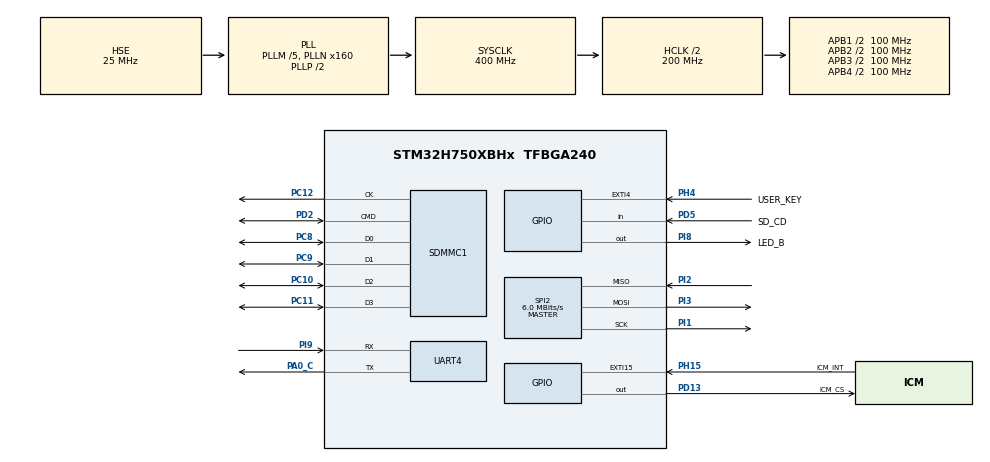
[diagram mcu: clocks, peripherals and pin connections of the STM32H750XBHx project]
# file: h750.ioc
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Dma.Request0=SPI2_RX
Dma.Request1=SPI2_TX
Dma.SPI2_RX.0.Direction=DMA_PERIPH_TO_MEMORY
Dma.SPI2_RX.0.EventEnable=DISABLE
Dma.SPI2_RX.0.FIFOMode=DMA_FIFOMODE_DISABLE
Dma.SPI2_RX.0.Instance=DMA1_Stream0
Dma.SPI2_RX.0.MemDataAlignment=DMA_MDATAALIGN_BYTE
Dma.SPI2_RX.0.MemInc=DMA_MINC_ENABLE
Dma.SPI2_RX.0.Mode=DMA_NORMAL
Dma.SPI2_RX.0.PeriphDataAlignment=DMA_PDATAALIGN_BYTE
Dma.SPI2_RX.0.PeriphInc=DMA_PINC_DISABLE
Dma.SPI2_RX.0.Polarity=HAL_DMAMUX_REQ_GEN_RISING
Dma.SPI2_RX.0.Priority=DMA_PRIORITY_LOW
Dma.SPI2_RX.0.RequestNumber=1
Dma.SPI2_RX.0.SignalID=NONE
Dma.SPI2_RX.0.SyncEnable=DISABLE
Dma.SPI2_RX.0.SyncPolarity=HAL_DMAMUX_SYNC_NO_EVENT
Dma.SPI2_RX.0.SyncRequestNumber=1
Dma.SPI2_RX.0.SyncSignalID=NONE
Dma.SPI2_TX.1.Direction=DMA_MEMORY_TO_PERIPH
Dma.SPI2_TX.1.EventEnable=DISABLE
Dma.SPI2_TX.1.FIFOMode=DMA_FIFOMODE_DISABLE
Dma.SPI2_TX.1.Instance=DMA1_Stream1
Dma.SPI2_TX.1.MemDataAlignment=DMA_MDATAALIGN_BYTE
Dma.SPI2_TX.1.MemInc=DMA_MINC_ENABLE
Dma.SPI2_TX.1.Mode=DMA_NORMAL
Dma.SPI2_TX.1.PeriphDataAlignment=DMA_PDATAALIGN_BYTE
Dma.SPI2_TX.1.PeriphInc=DMA_PINC_DISABLE
Dma.SPI2_TX.1.Polarity=HAL_DMAMUX_REQ_GEN_RISING
Dma.SPI2_TX.1.Priority=DMA_PRIORITY_LOW
Dma.SPI2_TX.1.RequestNumber=1
Dma.SPI2_TX.1.SignalID=NONE
Dma.SPI2_TX.1.SyncEnable=DISABLE
Dma.SPI2_TX.1.SyncPolarity=HAL_DMAMUX_SYNC_NO_EVENT
Dma.SPI2_TX.1.SyncRequestNumber=1
Dma.SPI2_TX.1.SyncSignalID=NONE
FATFS._FS_EXFAT=1
FATFS._FS_TINY=0
FATFS._MAX_SS=4096
FATFS._USE_LFN=1
Mcu.Family=STM32H7
Mcu.Name=STM32H750XBHx
Mcu.Package=TFBGA240
NVIC.DMA1_Stream0_IRQn=true\:0\:0\:false\:false\:true\:false\:true\:true
NVIC.DMA1_Stream1_IRQn=true\:0\:0\:false\:false\:true\:false\:true\:true
NVIC.EXTI4_IRQn=true\:0\:0\:true\:false\:true\:true\:true\:true
NVIC.PriorityGroup=NVIC_PRIORITYGROUP_4
NVIC.SDMMC1_IRQn=true\:0\:0\:false\:false\:true\:true\:true\:true
NVIC.SPI2_IRQn=true\:0\:0\:false\:false\:true\:true\:true\:true
NVIC.TIM7_IRQn=true\:4\:0\:true\:false\:true\:true\:true\:true
NVIC.UART4_IRQn=true\:5\:0\:true\:false\:true\:true\:true\:true
PA0_C.Mode=Asynchronous
PA0_C.Signal=UART4_TX
PA13\ (JTMS/SWDIO).Mode=Serial_Wire
PA13\ (JTMS/SWDIO).Signal=DEBUG_JTMS-SWDIO
PA14\ (JTCK/SWCLK).Mode=Serial_Wire
PA14\ (JTCK/SWCLK).Signal=DEBUG_JTCK-SWCLK
PC10.GPIO_PuPd=GPIO_PULLUP
PC10.Mode=SD_4_bits_Wide_bus
PC10.Signal=SDMMC1_D2
PC11.GPIO_PuPd=GPIO_PULLUP
PC11.Mode=SD_4_bits_Wide_bus
PC11.Signal=SDMMC1_D3
PC12.GPIO_PuPd=GPIO_PULLUP
PC12.Mode=SD_4_bits_Wide_bus
PC12.Signal=SDMMC1_CK
PC8.GPIO_PuPd=GPIO_PULLUP
PC8.Mode=SD_4_bits_Wide_bus
PC8.Signal=SDMMC1_D0
PC9.GPIO_PuPd=GPIO_PULLUP
PC9.Mode=SD_4_bits_Wide_bus
PC9.Signal=SDMMC1_D1
PD13.GPIO_Label=ICM_CS
PD13.GPIO_Speed=GPIO_SPEED_FREQ_VERY_HIGH
PD13.PinState=GPIO_PIN_SET
PD13.Signal=GPIO_Output
PD2.GPIO_PuPd=GPIO_PULLUP
PD2.Mode=SD_4_bits_Wide_bus
PD2.Signal=SDMMC1_CMD
PD5.GPIO_Label=SD_CD
PD5.Signal=GPIO_Input
PH0-OSC_IN\ (PH0).Mode=HSE-External-Oscillator
PH0-OSC_IN\ (PH0).Signal=RCC_OSC_IN
PH1-OSC_OUT\ (PH1).Mode=HSE-External-Oscillator
PH1-OSC_OUT\ (PH1).Signal=RCC_OSC_OUT
PH15.GPIO_Label=ICM_INT
PH15.Signal=GPXTI15
PH4.GPIO_Label=USER_KEY
PH4.GPIO_ModeDefaultEXTI=GPIO_MODE_IT_FALLING
PH4.GPIO_PuPd=GPIO_PULLUP
PH4.Signal=GPXTI4
PI1.Mode=Full_Duplex_Master
PI1.Signal=SPI2_SCK
PI2.Mode=Full_Duplex_Master
PI2.Signal=SPI2_MISO
PI3.Mode=Full_Duplex_Master
PI3.Signal=SPI2_MOSI
PI8.GPIO_Label=LED_B
PI8.Signal=GPIO_Output
PI9.Mode=Asynchronous
PI9.Signal=UART4_RX
ProjectManager.HeapSize=0x200
ProjectManager.StackSize=0x400
ProjectManager.TargetToolchain=STM32CubeIDE
RCC.ADCFreq_Value=480000000
RCC.APB1Freq_Value=100000000
RCC.APB2Freq_Value=100000000
RCC.APB3Freq_Value=100000000
RCC.APB4Freq_Value=100000000
RCC.CortexFreq_Value=400000000
RCC.D1PPRE=RCC_APB3_DIV2
RCC.D2PPRE1=RCC_APB1_DIV2
RCC.D2PPRE2=RCC_APB2_DIV2
RCC.D3PPRE=RCC_APB4_DIV2
RCC.DIVM1=5
RCC.DIVM2=5
RCC.DIVM3=5
RCC.DIVN1=160
RCC.DIVN2=192
RCC.DIVN3=192
RCC.DIVP3=20
RCC.DIVR2=10
RCC.HCLKFreq_Value=200000000
RCC.HPRE=RCC_HCLK_DIV2
RCC.PLL2FRACN=0
RCC.PLL3FRACN=0
RCC.PLLFRACN=0
RCC.PLLSourceVirtual=RCC_PLLSOURCE_HSE
RCC.SDMMC1CLockSelection=RCC_SDMMCCLKSOURCE_PLL2
RCC.SPI123CLockSelection=RCC_SPI123CLKSOURCE_PLL3
RCC.SYSCLKFreq_VALUE=400000000
RCC.SYSCLKSource=RCC_SYSCLKSOURCE_PLLCLK
RCC.USBFreq_Value=400000000
SDMMC1.ClockDiv=4
SPI2.BaudRatePrescaler=SPI_BAUDRATEPRESCALER_8
SPI2.CLKPhase=SPI_PHASE_2EDGE
SPI2.CLKPolarity=SPI_POLARITY_HIGH
SPI2.CalculateBaudRate=6.0 MBits/s
SPI2.DataSize=SPI_DATASIZE_8BIT
SPI2.Direction=SPI_DIRECTION_2LINES
SPI2.Mode=SPI_MODE_MASTER
SPI2.VirtualType=VM_MASTER
TIM7.AutoReloadPreload=TIM_AUTORELOAD_PRELOAD_ENABLE
TIM7.Period=999
TIM7.Prescaler=999
VP_FATFS_VS_SDIO.Mode=SDIO
VP_TIM7_VS_ClockSourceINT.Mode=Enable_Timer
board=custom

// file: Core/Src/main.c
/* USER CODE BEGIN Header */
/**
 ******************************************************************************
 * @file           : main.c
 * @brief          : Main program body
 ******************************************************************************
 * @attention
 *
 * Copyright (c) 2023 STMicroelectronics.
 * All rights reserved.
 *
 * This software is licensed under terms that can be found in the LICENSE file
 * in the root directory of this software component.
 * If no LICENSE file comes with this software, it is provided AS-IS.
 *
 ******************************************************************************
 */
/* USER CODE END Header */
#include "main.h"
#include "dma.h"
#include "fatfs.h"
#include "sdmmc.h"
#include "spi.h"
#include "tim.h"
#include "usart.h"
#include "gpio.h"

/* USER CODE BEGIN Includes */
#include "icm20948.h"
#include "cQueue.h"

/* USER CODE END Includes */

/* USER CODE BEGIN PV */
//extern int16_t accel_data[3];
//extern int16_t gyro_data[3];

volatile uint8_t userKey1Flag = 0;
volatile uint8_t dataReadyFlag = 0;
volatile int dataReadyCount = 0;

axises my_gyro;
axises my_accel;
axises my_mag;
int16_t mag_data[3];
IMU imuData;

QueueType* cQ;
/* USER CODE END PV */

void SystemClock_Config(void);
/* USER CODE BEGIN PFP */
#ifdef __GNUC__
//With GCC, small printf (option LD Linker->Libraries->Small printf set to 'Yes') calls __io_putchar()
#define PUTCHAR_PROTOTYPE int __io_putchar(int ch)
#else
#define PUTCHAR_PROTOTYPE int fputc(int ch, FILE *f)
#endif /* __GNUC__ */

void HAL_GPIO_EXTI_Callback (uint16_t GPIO_Pin)
{
  if (GPIO_Pin == GPIO_PIN_4)
  {
    userKey1Flag = 1;

  }

  if (GPIO_Pin == GPIO_PIN_15)
  {
    dataReadyCount++;
    dataReadyFlag = 0;
    icm20948_accel_gyro_read(&imuData);
    if(!isCQueueFull(cQ)) enCQueue(cQ, imuData);
  }
}

int isSDcard(){
  return HAL_GPIO_ReadPin(SD_CD_GPIO_Port, SD_CD_Pin);
}

/* USER CODE END PFP */

int main(void)
{
  /* USER CODE BEGIN 1 */
  char uart_buffer[100];
  cQ = createCQueue();
  /* USER CODE END 1 */

  /* MCU Configuration--------------------------------------------------------*/

  /* Reset of all peripherals, Initializes the Flash interface and the Systick. */
  HAL_Init();

  /* Configure the system clock */
  SystemClock_Config();

  /* Initialize all configured peripherals */
  MX_GPIO_Init();
  MX_SDMMC1_SD_Init();
  MX_UART4_Init();
  MX_SPI2_Init();
  MX_DMA_Init();
  MX_TIM7_Init();
  MX_FATFS_Init();
  /* USER CODE BEGIN 2 */

  printf ("start main()\r\n");

  HAL_Delay (10);
  icm20948_init();
  ak09916_init();
  HAL_Delay (10);

  /* USER CODE END 2 */

  /* Infinite loop */
  /* USER CODE BEGIN WHILE */

  char fileName[12];

  HAL_GPIO_WritePin (LED_B_GPIO_Port, LED_B_Pin, GPIO_PIN_RESET);
  int i = 0;
  uint32_t bw, br;

  // 1.
  //printf("%c%c%c%c\r\n", SDPath[0], SDPath[1], SDPath[2], SDPath[3]);
  if ((retSD = f_mount (&SDFatFS, SDPath, 0)) == FR_OK)
  {
    //sprintf(str, "f_mount OK %d", retSD);
    printf ("1. f_mount OK %d \r\n", retSD);
  }
  else
  {
    printf ("1. f_mount OK failed %d\r\n", retSD);
  }
  // 2.

  int fileIndex = 0;

  do
  {
    fileIndex++;
    sprintf (fileName, "data%04d.bin", fileIndex);

    retSD = f_open (&SDFile, fileName, FA_OPEN_EXISTING | FA_READ);
    HAL_UART_Transmit (&huart4, fileName, 12, HAL_MAX_DELAY);
    printf ("  %d\r\n", retSD);
    HAL_Delay (100);
    if (retSD == FR_OK)
      f_close (&SDFile);
    if ( retSD == FR_NOT_READY)
      while(1);
  }while (retSD != FR_NO_FILE);

  HAL_GPIO_WritePin (LED_B_GPIO_Port, LED_B_Pin, GPIO_PIN_SET);

  uint8_t startFlag = 0;
  uint8_t save_Count = 0;

  while (1)
  {
    if (startFlag)
    {
      //ICM_SelectBank(USER_BANK_0);
      //ICM_ReadAccelGyro();

      //ICM_ReadMag(mag_data);
      // Print raw, but joined, axis data values to screen

      ///ak09916_mag_read(&imuData);

//      sprintf (uart_buffer, "%10d,%5d,%5d,%5d,%5d,%5d,%5d,%5d,%5d,%5d\r\n",
//               HAL_GetTick(),accel_data[0], accel_data[1], accel_data[2], gyro_data[0],
//               gyro_data[1], gyro_data[2], mag_data[0], mag_data[1],
//               mag_data[2]);
//      sprintf (uart_buffer, "%10d,%5d,%5d,%5d,%5d,%5d,%5d,%5d,%5d,%5d\r\n",
//               HAL_GetTick(),my_accel.x,my_accel.y,my_accel.z, my_gyro.x,
//               my_gyro.y, my_gyro.z, my_mag.x, my_mag.y,
//               my_mag.z);

//      imuData.time = HAL_GetTick();
//      imuData.ax = my_accel.x;
//      imuData.ax = my_accel.y;
//      imuData.ax = my_accel.z;
//
//      imuData.gx = my_gyro.x;
//      imuData.gx = my_gyro.y;
//      imuData.gx = my_gyro.z;
//
//      imuData.ax = my_mag.x;
//      imuData.ax = my_mag.y;
//      imuData.ax = my_mag.z;

      //HAL_UART_Transmit(&huart4, (uint8_t*) uart_buffer, strlen(uart_buffer), 1000);
      //printf("%d\r\n", strlen(uart_buffer));

      f_write (&SDFile,  (uint8_t*)&imuData, 22 , &bw);
      if(save_Count++ == 5){
        save_Count = 0;
        f_sync (&SDFile);
      }
      if( dataReadyCount%500 == 0){
        HAL_GPIO_TogglePin (LED_B_GPIO_Port, LED_B_Pin);
      }

    }

    if (userKey1Flag)
    {
      if (startFlag == 1){
        f_close (&SDFile);
        fileIndex++;
        sprintf (fileName, "data%04d.bin", fileIndex);
      }
      else
      {
        retSD = f_open (&SDFile, fileName, FA_OPEN_APPEND | FA_WRITE);

        if (retSD == FR_OK)
        {
          printf ("OK\r\n");
        }
        else
        {
          printf ("2. Failed %d \r\n", retSD);
        }
      }

      printf ("asdf\r\n");
      if(startFlag){
        HAL_GPIO_WritePin (LED_B_GPIO_Port, LED_B_Pin, GPIO_PIN_RESET);
      }else{
        HAL_GPIO_WritePin (LED_B_GPIO_Port, LED_B_Pin, GPIO_PIN_SET);
      }
      startFlag = !startFlag;
      HAL_Delay (500);

      userKey1Flag = 0;
    }

    /* USER CODE END WHILE */

  }
}

void SystemClock_Config(void)
{
  RCC_OscInitTypeDef RCC_OscInitStruct = {0};
  RCC_ClkInitTypeDef RCC_ClkInitStruct = {0};

  /** Supply configuration update enable
  */
  HAL_PWREx_ConfigSupply(PWR_LDO_SUPPLY);

  /** Configure the main internal regulator output voltage
  */
  __HAL_PWR_VOLTAGESCALING_CONFIG(PWR_REGULATOR_VOLTAGE_SCALE1);

  while(!__HAL_PWR_GET_FLAG(PWR_FLAG_VOSRDY)) {}

  /** Macro to configure the PLL clock source
  */
  __HAL_RCC_PLL_PLLSOURCE_CONFIG(RCC_PLLSOURCE_HSE);

  /** Initializes the RCC Oscillators according to the specified parameters
  * in the RCC_OscInitTypeDef structure.
  */
  RCC_OscInitStruct.OscillatorType = RCC_OSCILLATORTYPE_HSE;
  RCC_OscInitStruct.HSEState = RCC_HSE_ON;
  RCC_OscInitStruct.PLL.PLLState = RCC_PLL_ON;
  RCC_OscInitStruct.PLL.PLLSource = RCC_PLLSOURCE_HSE;
  RCC_OscInitStruct.PLL.PLLM = 5;
  RCC_OscInitStruct.PLL.PLLN = 160;
  RCC_OscInitStruct.PLL.PLLP = 2;
  RCC_OscInitStruct.PLL.PLLQ = 2;
  RCC_OscInitStruct.PLL.PLLR = 2;
  RCC_OscInitStruct.PLL.PLLRGE = RCC_PLL1VCIRANGE_2;
  RCC_OscInitStruct.PLL.PLLVCOSEL = RCC_PLL1VCOWIDE;
  RCC_OscInitStruct.PLL.PLLFRACN = 0;
  if (HAL_RCC_OscConfig(&RCC_OscInitStruct) != HAL_OK)
  {
    Error_Handler();
  }

  /** Initializes the CPU, AHB and APB buses clocks
  */
  RCC_ClkInitStruct.ClockType = RCC_CLOCKTYPE_HCLK|RCC_CLOCKTYPE_SYSCLK
                              |RCC_CLOCKTYPE_PCLK1|RCC_CLOCKTYPE_PCLK2
                              |RCC_CLOCKTYPE_D3PCLK1|RCC_CLOCKTYPE_D1PCLK1;
  RCC_ClkInitStruct.SYSCLKSource = RCC_SYSCLKSOURCE_PLLCLK;
  RCC_ClkInitStruct.SYSCLKDivider = RCC_SYSCLK_DIV1;
  RCC_ClkInitStruct.AHBCLKDivider = RCC_HCLK_DIV2;
  RCC_ClkInitStruct.APB3CLKDivider = RCC_APB3_DIV2;
  RCC_ClkInitStruct.APB1CLKDivider = RCC_APB1_DIV2;
  RCC_ClkInitStruct.APB2CLKDivider = RCC_APB2_DIV2;
  RCC_ClkInitStruct.APB4CLKDivider = RCC_APB4_DIV2;

  if (HAL_RCC_ClockConfig(&RCC_ClkInitStruct, FLASH_LATENCY_2) != HAL_OK)
  {
    Error_Handler();
  }
}

/* USER CODE BEGIN 4 */
PUTCHAR_PROTOTYPE
{
  /* Place your implementation of fputc here */
  /* e.g. write a character to the USART3 and Loop until the end of transmission */
  HAL_UART_Transmit (&huart4, (uint8_t*) &ch, 1, 0xFFFF);

  return ch;
}
/* USER CODE END 4 */

void Error_Handler(void)
{
  /* USER CODE BEGIN Error_Handler_Debug */
  /* User can add his own implementation to report the HAL error return state */
  __disable_irq ();
  while (1)
  {
  }
  /* USER CODE END Error_Handler_Debug */
}
